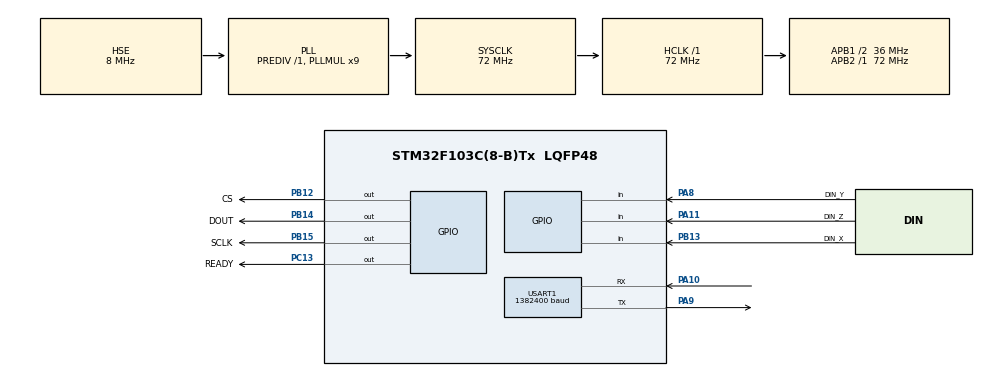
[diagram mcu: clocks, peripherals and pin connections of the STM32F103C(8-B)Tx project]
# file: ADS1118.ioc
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Dma.Request0=USART1_RX
Dma.Request1=USART1_TX
Dma.USART1_RX.0.Direction=DMA_PERIPH_TO_MEMORY
Dma.USART1_RX.0.Instance=DMA1_Channel5
Dma.USART1_RX.0.MemDataAlignment=DMA_MDATAALIGN_BYTE
Dma.USART1_RX.0.MemInc=DMA_MINC_ENABLE
Dma.USART1_RX.0.Mode=DMA_NORMAL
Dma.USART1_RX.0.PeriphDataAlignment=DMA_PDATAALIGN_BYTE
Dma.USART1_RX.0.PeriphInc=DMA_PINC_DISABLE
Dma.USART1_RX.0.Priority=DMA_PRIORITY_LOW
Dma.USART1_TX.1.Direction=DMA_MEMORY_TO_PERIPH
Dma.USART1_TX.1.Instance=DMA1_Channel4
Dma.USART1_TX.1.MemDataAlignment=DMA_MDATAALIGN_BYTE
Dma.USART1_TX.1.MemInc=DMA_MINC_ENABLE
Dma.USART1_TX.1.Mode=DMA_NORMAL
Dma.USART1_TX.1.PeriphDataAlignment=DMA_PDATAALIGN_BYTE
Dma.USART1_TX.1.PeriphInc=DMA_PINC_DISABLE
Dma.USART1_TX.1.Priority=DMA_PRIORITY_LOW
Mcu.Family=STM32F1
Mcu.Name=STM32F103C(8-B)Tx
Mcu.Package=LQFP48
NVIC.DMA1_Channel4_IRQn=true\:0\:0\:false\:false\:true\:false
NVIC.DMA1_Channel5_IRQn=true\:0\:0\:false\:false\:true\:false
NVIC.PriorityGroup=NVIC_PRIORITYGROUP_4
NVIC.USART1_IRQn=true\:0\:0\:false\:false\:true\:true
PA10.Mode=Asynchronous
PA10.Signal=USART1_RX
PA11.GPIO_Label=DIN_Z
PA11.Signal=GPIO_Input
PA13.Mode=Serial_Wire
PA13.Signal=SYS_JTMS-SWDIO
PA14.Mode=Serial_Wire
PA14.Signal=SYS_JTCK-SWCLK
PA8.GPIO_Label=DIN_Y
PA8.Signal=GPIO_Input
PA9.Mode=Asynchronous
PA9.Signal=USART1_TX
PB12.GPIO_Label=CS
PB12.PinState=GPIO_PIN_RESET
PB12.Signal=GPIO_Output
PB13.GPIO_Label=DIN_X
PB13.Signal=GPIO_Input
PB14.GPIO_Label=DOUT
PB14.Signal=GPIO_Output
PB15.GPIO_Label=SCLK
PB15.Signal=GPIO_Output
PC13-TAMPER-RTC.GPIO_Label=READY
PC13-TAMPER-RTC.PinState=GPIO_PIN_SET
PC13-TAMPER-RTC.Signal=GPIO_Output
PD0-OSC_IN.Mode=HSE-External-Oscillator
PD0-OSC_IN.Signal=RCC_OSC_IN
PD1-OSC_OUT.Mode=HSE-External-Oscillator
PD1-OSC_OUT.Signal=RCC_OSC_OUT
ProjectManager.HeapSize=0x200
ProjectManager.StackSize=0x400
ProjectManager.TargetToolchain=TrueSTUDIO
RCC.AHBFreq_Value=72000000
RCC.APB1CLKDivider=RCC_HCLK_DIV2
RCC.APB1Freq_Value=36000000
RCC.APB1TimFreq_Value=72000000
RCC.APB2Freq_Value=72000000
RCC.APB2TimFreq_Value=72000000
RCC.HCLKFreq_Value=72000000
RCC.PLLMUL=RCC_PLL_MUL9
RCC.PLLSourceVirtual=RCC_PLLSOURCE_HSE
RCC.SYSCLKFreq_VALUE=72000000
RCC.SYSCLKSource=RCC_SYSCLKSOURCE_PLLCLK
RCC.USBFreq_Value=72000000
USART1.BaudRate=1382400
USART1.VirtualMode=VM_ASYNC
board=custom

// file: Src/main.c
/**
  ******************************************************************************
  * @file           : main.c
  * @brief          : Main program body
  ******************************************************************************
  ** This notice applies to any and all portions of this file
  * that are not between comment pairs USER CODE BEGIN and
  * USER CODE END. Other portions of this file, whether
  * inserted by the user or by software development tools
  * are owned by their respective copyright owners.
  *
  * COPYRIGHT(c) 2019 STMicroelectronics
  *
  * Redistribution and use in source and binary forms, with or without modification,
  * are permitted provided that the following conditions are met:
  *   1. Redistributions of source code must retain the above copyright notice,
  *      this list of conditions and the following disclaimer.
  *   2. Redistributions in binary form must reproduce the above copyright notice,
  *      this list of conditions and the following disclaimer in the documentation
  *      and/or other materials provided with the distribution.
  *   3. Neither the name of STMicroelectronics nor the names of its contributors
  *      may be used to endorse or promote products derived from this software
  *      without specific prior written permission.
  *
  * THIS SOFTWARE IS PROVIDED BY THE COPYRIGHT HOLDERS AND CONTRIBUTORS "AS IS"
  * AND ANY EXPRESS OR IMPLIED WARRANTIES, INCLUDING, BUT NOT LIMITED TO, THE
  * IMPLIED WARRANTIES OF MERCHANTABILITY AND FITNESS FOR A PARTICULAR PURPOSE ARE
  * DISCLAIMED. IN NO EVENT SHALL THE COPYRIGHT HOLDER OR CONTRIBUTORS BE LIABLE
  * FOR ANY DIRECT, INDIRECT, INCIDENTAL, SPECIAL, EXEMPLARY, OR CONSEQUENTIAL
  * DAMAGES (INCLUDING, BUT NOT LIMITED TO, PROCUREMENT OF SUBSTITUTE GOODS OR
  * SERVICES; LOSS OF USE, DATA, OR PROFITS; OR BUSINESS INTERRUPTION) HOWEVER
  * CAUSED AND ON ANY THEORY OF LIABILITY, WHETHER IN CONTRACT, STRICT LIABILITY,
  * OR TORT (INCLUDING NEGLIGENCE OR OTHERWISE) ARISING IN ANY WAY OUT OF THE USE
  * OF THIS SOFTWARE, EVEN IF ADVISED OF THE POSSIBILITY OF SUCH DAMAGE.
  *
  ******************************************************************************
  */
#include "main.h"
#include "stm32f1xx_hal.h"

/* USER CODE BEGIN Includes */
#include "dwt_stm32_delay.h"
/* USER CODE END Includes */

UART_HandleTypeDef huart1;
DMA_HandleTypeDef hdma_usart1_rx;
DMA_HandleTypeDef hdma_usart1_tx;

/* USER CODE BEGIN PV */
/* Private variables ---------------------------------------------------------*/

/* USER CODE END PV */

void SystemClock_Config(void);
static void MX_GPIO_Init(void);
static void MX_DMA_Init(void);
static void MX_USART1_UART_Init(void);

/* USER CODE BEGIN PFP */
/* Private function prototypes -----------------------------------------------*/

/* USER CODE END PFP */

/* USER CODE BEGIN 0 */
uint16_t  data[3];
uint8_t   rxBuffer,startStream=0;
/*
 * readCommand Function
 * Parameters: 	config ----> CONFIG COMMAND TO SEND
 * 				discardData ---> Discard The return Data from ADS1118
 *
 * 	Basic Idea of Function:
 * 		Sends 16 bit length of config command to all three ADS1118.
 * 		At the same time, if discardData==false, stores the 3 16 bit
 * 		return data of all ADS1118 to data variable
 *
 * 		For Deeper information for why does the function works this
 * 		way is to read Datasheet or Ask MEEE :D :D
 *
 */
void readCommand(uint16_t config,uint8_t discardData)
{
	uint16_t read;
	int16_t counter=15;
	if(discardData==0)
	{
		data[0]=0x0000;
		data[1]=0x0000;
		data[2]=0x0000;
	}
	DWT_Delay_us(1);
	while(counter>=0)
	{
		read=config>>counter;
		read=read&0x0001;
		read=read==0x0001?GPIO_PIN_SET:GPIO_PIN_RESET;
		HAL_GPIO_WritePin(DOUT_GPIO_Port,DOUT_Pin,read);
		HAL_GPIO_WritePin(SCLK_GPIO_Port,SCLK_Pin,GPIO_PIN_SET);
		DWT_Delay_us(1);
		HAL_GPIO_WritePin(SCLK_GPIO_Port,SCLK_Pin,GPIO_PIN_RESET);
		if(discardData==0)
		{
			read=HAL_GPIO_ReadPin(DIN_X_GPIO_Port,DIN_X_Pin)==GPIO_PIN_SET?0x01:0x00;
			read=read<<counter;
			data[0]=data[0]|read;
			read=HAL_GPIO_ReadPin(DIN_Y_GPIO_Port,DIN_Y_Pin)==GPIO_PIN_SET?0x01:0x00;
			read=read<<counter;
			data[1]=data[1]|read;
			read=HAL_GPIO_ReadPin(DIN_Z_GPIO_Port,DIN_Z_Pin)==GPIO_PIN_SET?0x01:0x00;
			read=read<<counter--;
			data[2]=data[2]|read;
		}else{
			DWT_Delay_us(2);
			counter--;
		}
	}
	//HAL_GPIO_WritePin(CS_GPIO_Port,CS_Pin,GPIO_PIN_SET);
	return;
}
void HAL_UART_RxCpltCallback(UART_HandleTypeDef *huart)
{
	/*
	 * UART RECEIVE Callback
	 * All receive byte are received in this function
	 * Read Byte will determine the active action of STM32 below
	 */
  if(rxBuffer=='P'){
	  HAL_UART_Transmit(&huart1,"Pong",4,1);
  }else if(rxBuffer=='D'){
	  startStream=startStream==0?1:0;
  }
  HAL_UART_Receive_DMA(&huart1, &rxBuffer, 1);
}
/* USER CODE END 0 */

int main(void)
{

  /* MCU Configuration----------------------------------------------------------*/

  /* Reset of all peripherals, Initializes the Flash interface and the Systick. */
  HAL_Init();

  /* Configure the system clock */
  SystemClock_Config();

  /* Initialize all configured peripherals */
  MX_GPIO_Init();
  MX_DMA_Init();
  MX_USART1_UART_Init();
  /* USER CODE BEGIN 2 */
  //Initialize Pins
  HAL_GPIO_WritePin(READY_GPIO_Port,READY_Pin,GPIO_PIN_SET);
  HAL_GPIO_WritePin(CS_GPIO_Port,CS_Pin,GPIO_PIN_SET);
  HAL_GPIO_WritePin(SCLK_GPIO_Port,SCLK_Pin,GPIO_PIN_RESET);
  HAL_GPIO_WritePin(DOUT_GPIO_Port,DOUT_Pin,GPIO_PIN_RESET);
  DWT_Delay_Init();
  HAL_Delay(1000);
  HAL_GPIO_WritePin(CS_GPIO_Port,CS_Pin,GPIO_PIN_RESET);

  /* Update Config Reg 0x04EB, refer to datasheet @ page 25 on Table 7
  	 For more information about Config Register
 	 For Data Communication Please refer to Page 24 to see
  	 How does data transfer to each other
   */
  readCommand(0x04EB,1);
  readCommand(0x04EB,1);

  /*
   * LED LIGHT ON to determine that initialization is complete
   * The color of the led is Yellowish and is found on the
   * STM32 board
   */
  HAL_GPIO_WritePin(READY_GPIO_Port,READY_Pin,GPIO_PIN_RESET);

  /*
   * Set DMA(Direct Memory Access) Receive mode for UART
   * and Callback HAL_UART_RxCpltCallback is called everytime
   * a Byte is received
   */
  HAL_UART_Receive_DMA(&huart1,&rxBuffer,1);
  /* USER CODE END 2 */

  /* Infinite loop */
  /* USER CODE BEGIN WHILE */
  while (1)
  {
	  /*
	   * Checks if the 3 ADS1118 Out Pin is low
	   * if all out pins are low start reading the three data
	   */
	  if(HAL_GPIO_ReadPin(DIN_X_GPIO_Port,DIN_X_Pin)==GPIO_PIN_RESET)
	  {
		  if(HAL_GPIO_ReadPin(DIN_Y_GPIO_Port,DIN_Y_Pin)==GPIO_PIN_RESET)
		  {
			  if(HAL_GPIO_ReadPin(DIN_Z_GPIO_Port,DIN_Z_Pin)==GPIO_PIN_RESET)
			  {
				  readCommand(0x04EB,0);//Send Command and Read The 16 bit Data
				  readCommand(0x04EB,1);//Send Command and Discard the return Data
	  	  		  if(startStream==1){
	  	  			  /*
	  	  			   * Sends The data through bluetooth
	  	  			   * Please refer to HAL_UART_RxCpltCallback method
	  	  			   * above to check how does android and stm32
	  	  			   * communicates
	  	  			   */
	  	  			  HAL_UART_Transmit(&huart1,data,6,1);
				  }
			  }
		  }
	  }

  /* USER CODE END WHILE */

  }

}

void SystemClock_Config(void)
{

  RCC_OscInitTypeDef RCC_OscInitStruct;
  RCC_ClkInitTypeDef RCC_ClkInitStruct;

    /**Initializes the CPU, AHB and APB busses clocks
    */
  RCC_OscInitStruct.OscillatorType = RCC_OSCILLATORTYPE_HSE;
  RCC_OscInitStruct.HSEState = RCC_HSE_ON;
  RCC_OscInitStruct.HSEPredivValue = RCC_HSE_PREDIV_DIV1;
  RCC_OscInitStruct.HSIState = RCC_HSI_ON;
  RCC_OscInitStruct.PLL.PLLState = RCC_PLL_ON;
  RCC_OscInitStruct.PLL.PLLSource = RCC_PLLSOURCE_HSE;
  RCC_OscInitStruct.PLL.PLLMUL = RCC_PLL_MUL9;
  if (HAL_RCC_OscConfig(&RCC_OscInitStruct) != HAL_OK)
  {
    _Error_Handler(__FILE__, __LINE__);
  }

    /**Initializes the CPU, AHB and APB busses clocks
    */
  RCC_ClkInitStruct.ClockType = RCC_CLOCKTYPE_HCLK|RCC_CLOCKTYPE_SYSCLK
                              |RCC_CLOCKTYPE_PCLK1|RCC_CLOCKTYPE_PCLK2;
  RCC_ClkInitStruct.SYSCLKSource = RCC_SYSCLKSOURCE_PLLCLK;
  RCC_ClkInitStruct.AHBCLKDivider = RCC_SYSCLK_DIV1;
  RCC_ClkInitStruct.APB1CLKDivider = RCC_HCLK_DIV2;
  RCC_ClkInitStruct.APB2CLKDivider = RCC_HCLK_DIV1;

  if (HAL_RCC_ClockConfig(&RCC_ClkInitStruct, FLASH_LATENCY_2) != HAL_OK)
  {
    _Error_Handler(__FILE__, __LINE__);
  }

    /**Configure the Systick interrupt time
    */
  HAL_SYSTICK_Config(HAL_RCC_GetHCLKFreq()/1000);

    /**Configure the Systick
    */
  HAL_SYSTICK_CLKSourceConfig(SYSTICK_CLKSOURCE_HCLK);

  /* SysTick_IRQn interrupt configuration */
  HAL_NVIC_SetPriority(SysTick_IRQn, 0, 0);
}

/* USART1 init function */
static void MX_USART1_UART_Init(void)
{

  huart1.Instance = USART1;
  huart1.Init.BaudRate = 1382400;
  huart1.Init.WordLength = UART_WORDLENGTH_8B;
  huart1.Init.StopBits = UART_STOPBITS_1;
  huart1.Init.Parity = UART_PARITY_NONE;
  huart1.Init.Mode = UART_MODE_TX_RX;
  huart1.Init.HwFlowCtl = UART_HWCONTROL_NONE;
  huart1.Init.OverSampling = UART_OVERSAMPLING_16;
  if (HAL_UART_Init(&huart1) != HAL_OK)
  {
    _Error_Handler(__FILE__, __LINE__);
  }

}

static void MX_DMA_Init(void)
{
  /* DMA controller clock enable */
  __HAL_RCC_DMA1_CLK_ENABLE();

  /* DMA interrupt init */
  /* DMA1_Channel4_IRQn interrupt configuration */
  HAL_NVIC_SetPriority(DMA1_Channel4_IRQn, 0, 0);
  HAL_NVIC_EnableIRQ(DMA1_Channel4_IRQn);
  /* DMA1_Channel5_IRQn interrupt configuration */
  HAL_NVIC_SetPriority(DMA1_Channel5_IRQn, 0, 0);
  HAL_NVIC_EnableIRQ(DMA1_Channel5_IRQn);

}

/** Configure pins as
        * Analog
        * Input
        * Output
        * EVENT_OUT
        * EXTI
*/
static void MX_GPIO_Init(void)
{

  GPIO_InitTypeDef GPIO_InitStruct;

  /* GPIO Ports Clock Enable */
  __HAL_RCC_GPIOC_CLK_ENABLE();
  __HAL_RCC_GPIOD_CLK_ENABLE();
  __HAL_RCC_GPIOB_CLK_ENABLE();
  __HAL_RCC_GPIOA_CLK_ENABLE();

  /*Configure GPIO pin Output Level */
  HAL_GPIO_WritePin(READY_GPIO_Port, READY_Pin, GPIO_PIN_SET);

  /*Configure GPIO pin Output Level */
  HAL_GPIO_WritePin(GPIOB, CS_Pin|DOUT_Pin|SCLK_Pin, GPIO_PIN_RESET);

  /*Configure GPIO pin : READY_Pin */
  GPIO_InitStruct.Pin = READY_Pin;
  GPIO_InitStruct.Mode = GPIO_MODE_OUTPUT_PP;
  GPIO_InitStruct.Pull = GPIO_NOPULL;
  GPIO_InitStruct.Speed = GPIO_SPEED_FREQ_LOW;
  HAL_GPIO_Init(READY_GPIO_Port, &GPIO_InitStruct);

  /*Configure GPIO pins : CS_Pin DOUT_Pin SCLK_Pin */
  GPIO_InitStruct.Pin = CS_Pin|DOUT_Pin|SCLK_Pin;
  GPIO_InitStruct.Mode = GPIO_MODE_OUTPUT_PP;
  GPIO_InitStruct.Pull = GPIO_NOPULL;
  GPIO_InitStruct.Speed = GPIO_SPEED_FREQ_LOW;
  HAL_GPIO_Init(GPIOB, &GPIO_InitStruct);

  /*Configure GPIO pin : DIN_X_Pin */
  GPIO_InitStruct.Pin = DIN_X_Pin;
  GPIO_InitStruct.Mode = GPIO_MODE_INPUT;
  GPIO_InitStruct.Pull = GPIO_NOPULL;
  HAL_GPIO_Init(DIN_X_GPIO_Port, &GPIO_InitStruct);

  /*Configure GPIO pins : DIN_Y_Pin DIN_Z_Pin */
  GPIO_InitStruct.Pin = DIN_Y_Pin|DIN_Z_Pin;
  GPIO_InitStruct.Mode = GPIO_MODE_INPUT;
  GPIO_InitStruct.Pull = GPIO_NOPULL;
  HAL_GPIO_Init(GPIOA, &GPIO_InitStruct);

}

void _Error_Handler(char *file, int line)
{
  while(1)
  {
  }
}

/************************ (C) COPYRIGHT STMicroelectronics *****END OF FILE****/
